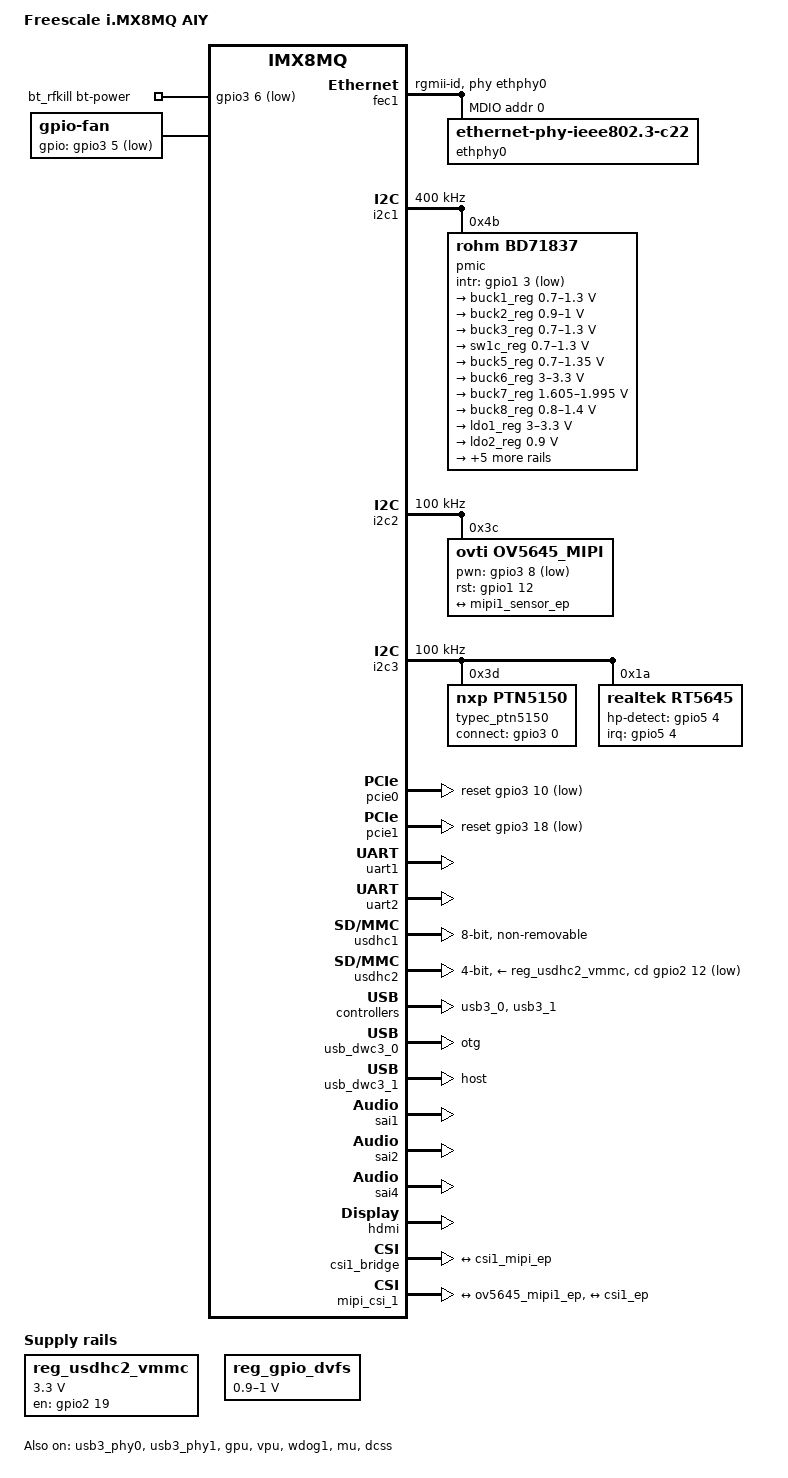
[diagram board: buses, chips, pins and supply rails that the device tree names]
/*
 * Copyright 2018 NXP
 *
 * This program is free software; you can redistribute it and/or
 * modify it under the terms of the GNU General Public License
 * as published by the Free Software Foundation; either version 2
 * of the License, or (at your option) any later version.
 *
 * This program is distributed in the hope that it will be useful,
 * but WITHOUT ANY WARRANTY; without even the implied warranty of
 * MERCHANTABILITY or FITNESS FOR A PARTICULAR PURPOSE.  See the
 * GNU General Public License for more details.
 */

/dts-v1/;

#include "fsl-imx8mq.dtsi"

/ {
	firmware {
		android {
			compatible = "android,firmware";
			fstab {
				compatible = "android,fstab";
				vendor {
					compatible = "android,vendor";
					/* default emmc node used for GSI */
					dev = "/dev/block/platform/30b40000.usdhc/by-name/vendor";
					/* emmc node which used if androidboot.storage_type=emmc */
					dev_emmc = "/dev/block/platform/30b40000.usdhc/by-name/vendor";
					type = "ext4";
					mnt_flags = "ro,barrier=1,inode_readahead_blks=8";
					fsmgr_flags = "wait,slotselect,avb";
				};
			};
			vbmeta {
				/*we need use FirstStageMountVBootV2 if we enable avb*/
				compatible = "android,vbmeta";
				/*parts means the partition witch can be mount in first stage*/
				parts = "vbmeta,boot,system,vendor";
			};
		};
	};
};

/ {
	model = "Freescale i.MX8MQ AIY";
	compatible = "fsl,imx8mq-evk", "fsl,imx8mq";

	chosen {
		bootargs = "console=ttymxc0,115200 earlycon=ec_imx6q,0x30860000,115200";
		stdout-path = &uart1;
	};

	regulators {
		compatible = "simple-bus";
		#address-cells = <1>;
		#size-cells = <0>;

		reg_usdhc2_vmmc: usdhc2_vmmc {
			compatible = "regulator-fixed";
			regulator-name = "VSD_3V3";
			regulator-min-microvolt = <3300000>;
			regulator-max-microvolt = <3300000>;
			gpio = <&gpio2 19 GPIO_ACTIVE_HIGH>;
			off-on-delay = <20000>;
			enable-active-high;
		};

		reg_gpio_dvfs: regulator-gpio {
			compatible = "regulator-gpio";
			pinctrl-names = "default";
			pinctrl-0 = <&pinctrl_dvfs>;
			regulator-min-microvolt = <900000>;
			regulator-max-microvolt = <1000000>;
			regulator-name = "gpio_dvfs";
			regulator-type = "voltage";
			gpios = <&gpio1 13 GPIO_ACTIVE_HIGH>;
			states = <900000 0x1 1000000 0x0>;
		};
	};

	bt_rfkill {
		compatible = "fsl,mxc_bt_rfkill";
		bt-power-gpios = <&gpio3 6 GPIO_ACTIVE_LOW>;
		status ="okay";
	};

	sound-hdmi {
		compatible = "fsl,imx8mq-evk-cdnhdmi",
				"fsl,imx-audio-cdnhdmi";
		model = "imx-audio-hdmi";
		audio-cpu = <&sai4>;
		protocol = <1>;
		hdmi-out;
		constraint-rate = <44100>,
				<88200>,
				<176400>,
				<32000>,
				<48000>,
				<96000>,
				<192000>;
	};
  
	sound-rt5645 {
		compatible = "google,edgetpu-audio-card";
		model = "edgetpu-audio-card";
		audio-cpu = <&sai2>;
		audio-codec = <&rt5645>;
		google,model = "edgetpu-audio-card";
        status = "okay";
	};

	trusty {
		compatible = "android,trusty-smc-v1";
		ranges;
		#address-cells = <2>;
		#size-cells = <2>;
		use-gicv3-workaround;
		trusty-irq {
			use-gicv3-workaround;
			compatible = "android,trusty-irq-v1";
			interrupt-templates = <&trusty_ipi 0>;
			interrupt-ranges = < 0 15 0>;
		};
		trusty-virtio {
			compatible = "android,trusty-virtio-v1";
		};
		trusty-log {
			compatible = "android,trusty-log-v1";
		};
	};
	trusty_ipi: interrupt-controller@0 {
		compatible = "android,CustomIPI";
		interrupt-controller;
		#interrupt-cells = <1>;
	};

	fan: gpio_fan {
		compatible = "gpio-fan";
		gpios = <&gpio3 5 GPIO_ACTIVE_LOW>;
		gpio-fan,speed-map = <0 0>, <8600 1>;
		#cooling-cells = <2>;
	};
};

&clk {
	assigned-clocks = <&clk IMX8MQ_AUDIO_PLL1>, <&clk IMX8MQ_AUDIO_PLL2>;
	assigned-clock-rates = <786432000>, <722534400>;
};

&iomuxc {
	pinctrl-names = "default";
	pinctrl-0 = <&pinctrl_hog>;

	imx8mq-evk {
		pinctrl_gpio: gpio_ctrlgrp{
			fsl,pins = <
				MX8MQ_IOMUXC_GPIO1_IO07_GPIO1_IO7		0x19
				MX8MQ_IOMUXC_GPIO1_IO08_GPIO1_IO8		0x19
				MX8MQ_IOMUXC_NAND_DATA03_GPIO3_IO9		0x19
				MX8MQ_IOMUXC_NAND_DATA07_GPIO3_IO13		0x19
				MX8MQ_IOMUXC_ECSPI2_SS0_GPIO5_IO13		0x19
			>;
		};

		pinctrl_hog: hoggrp {
			fsl,pins = <
				MX8MQ_IOMUXC_NAND_READY_B_GPIO3_IO16		0x19
				MX8MQ_IOMUXC_NAND_WE_B_GPIO3_IO17		0x19
				MX8MQ_IOMUXC_NAND_WP_B_GPIO3_IO18		0x19
			>;
		};

		pinctrl_csi1: csi1grp {
			fsl,pins = <
				MX8MQ_IOMUXC_NAND_DATA02_GPIO3_IO8      0x19 /* PWDN */
				MX8MQ_IOMUXC_GPIO1_IO12_GPIO1_IO12      0x19 /* RESETB */
				/* vsync pin mux? can't find in schematic */
			>;
		};

		pinctrl_csi2_pwn: csi2_pwn_grp {
			fsl,pins = <
				MX8MQ_IOMUXC_GPIO1_IO05_GPIO1_IO5		0x19
			>;
		};

		pinctrl_csi_rst: csi_rst_grp {
			fsl,pins = <
				MX8MQ_IOMUXC_GPIO1_IO06_GPIO1_IO6		0x19
				MX8MQ_IOMUXC_GPIO1_IO15_CCMSRCGPCMIX_CLKO2	0x59
			>;
		};

		pinctrl_fec1: fec1grp {
			fsl,pins = <
				MX8MQ_IOMUXC_ENET_MDC_ENET1_MDC		0x3
				MX8MQ_IOMUXC_ENET_MDIO_ENET1_MDIO	0x23
				MX8MQ_IOMUXC_ENET_TD3_ENET1_RGMII_TD3	0x1f
				MX8MQ_IOMUXC_ENET_TD2_ENET1_RGMII_TD2	0x1f
				MX8MQ_IOMUXC_ENET_TD1_ENET1_RGMII_TD1	0x1f
				MX8MQ_IOMUXC_ENET_TD0_ENET1_RGMII_TD0	0x1f
				MX8MQ_IOMUXC_ENET_RD3_ENET1_RGMII_RD3	0x91
				MX8MQ_IOMUXC_ENET_RD2_ENET1_RGMII_RD2	0x91
				MX8MQ_IOMUXC_ENET_RD1_ENET1_RGMII_RD1	0x91
				MX8MQ_IOMUXC_ENET_RD0_ENET1_RGMII_RD0	0x91
				MX8MQ_IOMUXC_ENET_TXC_ENET1_RGMII_TXC	0x1f
				MX8MQ_IOMUXC_ENET_RXC_ENET1_RGMII_RXC	0x91
				MX8MQ_IOMUXC_ENET_RX_CTL_ENET1_RGMII_RX_CTL	0x91
				MX8MQ_IOMUXC_ENET_TX_CTL_ENET1_RGMII_TX_CTL	0x1f
				MX8MQ_IOMUXC_GPIO1_IO09_GPIO1_IO9	0x19
			>;
		};

		pinctrl_i2c1: i2c1grp {
			fsl,pins = <
				MX8MQ_IOMUXC_I2C1_SCL_I2C1_SCL			0x4000007f
				MX8MQ_IOMUXC_I2C1_SDA_I2C1_SDA			0x4000007f
			>;
		};

		pinctrl_i2c2: i2c2grp {
			fsl,pins = <
				MX8MQ_IOMUXC_I2C2_SCL_I2C2_SCL			0x40000067
				MX8MQ_IOMUXC_I2C2_SDA_I2C2_SDA			0x40000067
			>;
		};

		pinctrl_i2c3: i2c3grp {
			fsl,pins = <
				MX8MQ_IOMUXC_I2C3_SCL_I2C3_SCL			0x40000067
				MX8MQ_IOMUXC_I2C3_SDA_I2C3_SDA			0x40000067
			>;
		};

		pinctrl_pcie0: pcie0grp {
			fsl,pins = <
				MX8MQ_IOMUXC_I2C4_SCL_PCIE1_CLKREQ_B	0x76 /* open drain, pull up */
			>;
		};

		pinctrl_pcie1: pcie1grp {
			fsl,pins = <
				MX8MQ_IOMUXC_I2C4_SDA_PCIE2_CLKREQ_B	0x76 /* open drain, pull up */
				MX8MQ_IOMUXC_ECSPI2_SCLK_GPIO5_IO10	0x16
				MX8MQ_IOMUXC_ECSPI2_MISO_GPIO5_IO12	0x16
			>;
		};

		pinctrl_dvfs: dvfsgrp {
			fsl,pins = <
				MX8MQ_IOMUXC_GPIO1_IO13_GPIO1_IO13	0x16
			>;
		};

		pinctrl_qspi: qspigrp {
			fsl,pins = <
				MX8MQ_IOMUXC_NAND_ALE_QSPI_A_SCLK	0x82
				MX8MQ_IOMUXC_NAND_CE0_B_QSPI_A_SS0_B	0x82
				MX8MQ_IOMUXC_NAND_DATA00_QSPI_A_DATA0	0x82
				MX8MQ_IOMUXC_NAND_DATA01_QSPI_A_DATA1	0x82
				MX8MQ_IOMUXC_NAND_DATA02_QSPI_A_DATA2	0x82
				MX8MQ_IOMUXC_NAND_DATA03_QSPI_A_DATA3	0x82

			>;
		};

		pinctrl_uart1: uart1grp {
			fsl,pins = <
				MX8MQ_IOMUXC_UART1_RXD_UART1_DCE_RX		0x49
				MX8MQ_IOMUXC_UART1_TXD_UART1_DCE_TX		0x49
			>;
		};

		pinctrl_uart2: uart2grp {
			fsl,pins = <
				MX8MQ_IOMUXC_UART2_TXD_UART2_DCE_TX		0x49
				MX8MQ_IOMUXC_UART2_RXD_UART2_DCE_RX		0x49
				MX8MQ_IOMUXC_UART4_RXD_UART2_DCE_CTS_B	0x49
				MX8MQ_IOMUXC_UART4_TXD_UART2_DCE_RTS_B	0x49
				MX8MQ_IOMUXC_NAND_DATA00_GPIO3_IO6		0x19
			>;
		};

		pinctrl_usdhc1: usdhc1grp {
			fsl,pins = <
				MX8MQ_IOMUXC_SD1_CLK_USDHC1_CLK			0x83
				MX8MQ_IOMUXC_SD1_CMD_USDHC1_CMD			0xc3
				MX8MQ_IOMUXC_SD1_DATA0_USDHC1_DATA0		0xc3
				MX8MQ_IOMUXC_SD1_DATA1_USDHC1_DATA1		0xc3
				MX8MQ_IOMUXC_SD1_DATA2_USDHC1_DATA2		0xc3
				MX8MQ_IOMUXC_SD1_DATA3_USDHC1_DATA3		0xc3
				MX8MQ_IOMUXC_SD1_DATA4_USDHC1_DATA4		0xc3
				MX8MQ_IOMUXC_SD1_DATA5_USDHC1_DATA5		0xc3
				MX8MQ_IOMUXC_SD1_DATA6_USDHC1_DATA6		0xc3
				MX8MQ_IOMUXC_SD1_DATA7_USDHC1_DATA7		0xc3
				MX8MQ_IOMUXC_SD1_STROBE_USDHC1_STROBE 		0x83
				MX8MQ_IOMUXC_SD1_RESET_B_USDHC1_RESET_B		0xc1
			>;
		};

		pinctrl_usdhc1_100mhz: usdhc1grp100mhz {
			fsl,pins = <
				MX8MQ_IOMUXC_SD1_CLK_USDHC1_CLK			0x8d
				MX8MQ_IOMUXC_SD1_CMD_USDHC1_CMD			0xcd
				MX8MQ_IOMUXC_SD1_DATA0_USDHC1_DATA0		0xcd
				MX8MQ_IOMUXC_SD1_DATA1_USDHC1_DATA1		0xcd
				MX8MQ_IOMUXC_SD1_DATA2_USDHC1_DATA2		0xcd
				MX8MQ_IOMUXC_SD1_DATA3_USDHC1_DATA3		0xcd
				MX8MQ_IOMUXC_SD1_DATA4_USDHC1_DATA4		0xcd
				MX8MQ_IOMUXC_SD1_DATA5_USDHC1_DATA5		0xcd
				MX8MQ_IOMUXC_SD1_DATA6_USDHC1_DATA6		0xcd
				MX8MQ_IOMUXC_SD1_DATA7_USDHC1_DATA7		0xcd
				MX8MQ_IOMUXC_SD1_STROBE_USDHC1_STROBE		0x8d
				MX8MQ_IOMUXC_SD1_RESET_B_USDHC1_RESET_B		0xc1
			>;
		};

		pinctrl_usdhc1_200mhz: usdhc1grp200mhz {
			fsl,pins = <
				MX8MQ_IOMUXC_SD1_CLK_USDHC1_CLK			0x9f
				MX8MQ_IOMUXC_SD1_CMD_USDHC1_CMD			0xdf
				MX8MQ_IOMUXC_SD1_DATA0_USDHC1_DATA0		0xdf
				MX8MQ_IOMUXC_SD1_DATA1_USDHC1_DATA1		0xdf
				MX8MQ_IOMUXC_SD1_DATA2_USDHC1_DATA2		0xdf
				MX8MQ_IOMUXC_SD1_DATA3_USDHC1_DATA3		0xdf
				MX8MQ_IOMUXC_SD1_DATA4_USDHC1_DATA4		0xdf
				MX8MQ_IOMUXC_SD1_DATA5_USDHC1_DATA5		0xdf
				MX8MQ_IOMUXC_SD1_DATA6_USDHC1_DATA6		0xdf
				MX8MQ_IOMUXC_SD1_DATA7_USDHC1_DATA7		0xdf
				MX8MQ_IOMUXC_SD1_STROBE_USDHC1_STROBE		0x9f
				MX8MQ_IOMUXC_SD1_RESET_B_USDHC1_RESET_B		0xc1
			>;
		};

		pinctrl_usdhc2_gpio: usdhc2grpgpio {
			fsl,pins = <
				MX8MQ_IOMUXC_SD2_CD_B_GPIO2_IO12	0x41
				MX8MQ_IOMUXC_SD2_RESET_B_GPIO2_IO19	0x41
			>;
		};

		pinctrl_usdhc2: usdhc2grp {
			fsl,pins = <
				MX8MQ_IOMUXC_SD2_CLK_USDHC2_CLK			0x83
				MX8MQ_IOMUXC_SD2_CMD_USDHC2_CMD			0xc3
				MX8MQ_IOMUXC_SD2_DATA0_USDHC2_DATA0		0xc3
				MX8MQ_IOMUXC_SD2_DATA1_USDHC2_DATA1		0xc3
				MX8MQ_IOMUXC_SD2_DATA2_USDHC2_DATA2		0xc3
				MX8MQ_IOMUXC_SD2_DATA3_USDHC2_DATA3		0xc3
				MX8MQ_IOMUXC_GPIO1_IO04_USDHC2_VSELECT		0xc1
			>;
		};

		pinctrl_usdhc2_100mhz: usdhc2grp100mhz {
			fsl,pins = <
				MX8MQ_IOMUXC_SD2_CLK_USDHC2_CLK			0x8d
				MX8MQ_IOMUXC_SD2_CMD_USDHC2_CMD			0xcd
				MX8MQ_IOMUXC_SD2_DATA0_USDHC2_DATA0		0xcd
				MX8MQ_IOMUXC_SD2_DATA1_USDHC2_DATA1		0xcd
				MX8MQ_IOMUXC_SD2_DATA2_USDHC2_DATA2		0xcd
				MX8MQ_IOMUXC_SD2_DATA3_USDHC2_DATA3		0xcd
				MX8MQ_IOMUXC_GPIO1_IO04_USDHC2_VSELECT		0xc1
			>;
		};

		pinctrl_usdhc2_200mhz: usdhc2grp200mhz {
			fsl,pins = <
				MX8MQ_IOMUXC_SD2_CLK_USDHC2_CLK			0x9f
				MX8MQ_IOMUXC_SD2_CMD_USDHC2_CMD			0xdf
				MX8MQ_IOMUXC_SD2_DATA0_USDHC2_DATA0		0xdf
				MX8MQ_IOMUXC_SD2_DATA1_USDHC2_DATA1		0xdf
				MX8MQ_IOMUXC_SD2_DATA2_USDHC2_DATA2		0xdf
				MX8MQ_IOMUXC_SD2_DATA3_USDHC2_DATA3		0xdf
				MX8MQ_IOMUXC_GPIO1_IO04_USDHC2_VSELECT		0xc1
			>;
		};

		pinctrl_sai1: sai1grp {
			fsl,pins = <
					MX8MQ_IOMUXC_SAI1_TXFS_SAI1_TX_SYNC     0xd6
					MX8MQ_IOMUXC_SAI1_TXC_SAI1_TX_BCLK      0xd6
					MX8MQ_IOMUXC_SAI1_MCLK_SAI1_MCLK        0xd6
					MX8MQ_IOMUXC_SAI1_TXD0_SAI1_TX_DATA0    0xd6
					MX8MQ_IOMUXC_SAI1_RXD0_SAI1_RX_DATA0    0xd6
				>;
		};

		pinctrl_sai2: sai2grp {
			fsl,pins = <
				MX8MQ_IOMUXC_SAI2_TXFS_SAI2_TX_SYNC	0xd6
				MX8MQ_IOMUXC_SAI2_TXC_SAI2_TX_BCLK	0xd6
				MX8MQ_IOMUXC_SAI2_MCLK_SAI2_MCLK	0xd6
				MX8MQ_IOMUXC_SAI2_TXD0_SAI2_TX_DATA0	0xd6
				MX8MQ_IOMUXC_SAI2_RXD0_SAI2_RX_DATA0  0xd6
				MX8MQ_IOMUXC_SPDIF_RX_GPIO5_IO4	0xd6
			>;
		};

		pinctrl_wdog: wdoggrp {
			fsl,pins = <
				MX8MQ_IOMUXC_GPIO1_IO02_WDOG1_WDOG_B 0xc6
			>;
		};

		pinctrl_i2c1_dsi_ts_int: dsi_ts_int {
			fsl,pins = <
				MX8MQ_IOMUXC_ECSPI1_MOSI_GPIO5_IO7              0x19
			>;
		};
		pinctrl_pmic: pmicirq {
			fsl,pins = <
				MX8MQ_IOMUXC_GPIO1_IO03_GPIO1_IO3	0x41 /*0x17059*/
			>;
		};
		pinctrl_typec: typecgrp {
			fsl,pins = <
				MX8MQ_IOMUXC_NAND_ALE_GPIO3_IO0		0x17059
			>;
		};
	};
};

&fec1 {
	pinctrl-names = "default";
	pinctrl-0 = <&pinctrl_fec1>;
	phy-mode = "rgmii-id";
	phy-handle = <&ethphy0>;
	fsl,magic-packet;
	status = "okay";

	mdio {
		#address-cells = <1>;
		#size-cells = <0>;

		ethphy0: ethernet-phy@0 {
			compatible = "ethernet-phy-ieee802.3-c22";
			reg = <0>;
			at803x,led-act-blind-workaround;
			at803x,eee-disabled;
		};
	};
};

&i2c1 {
	clock-frequency = <400000>;
	pinctrl-names = "default";
	pinctrl-0 = <&pinctrl_i2c1>;
	status = "okay";

	pmic: bd71837@4b {
		reg = <0x4b>;
		compatible = "rohm,bd71837";
		/* PMIC BD71837 PMIC_nINT GPIO1_IO12 */
		pinctrl-0 = <&pinctrl_pmic>;
		gpio_intr = <&gpio1 3 GPIO_ACTIVE_LOW>;

		bd71837,pmic-buck1-uses-i2c-dvs;
		bd71837,pmic-buck1-dvs-voltage = <900000>, <900000>, <800000>; /* VDD_SOC: Run-Idle-Suspend */
		bd71837,pmic-buck2-uses-i2c-dvs;
		bd71837,pmic-buck2-dvs-voltage = <1000000>, <900000>, <0>; /* VDD_ARM: Run-Idle */
		bd71837,pmic-buck3-uses-i2c-dvs;
		bd71837,pmic-buck3-dvs-voltage = <900000>, <0>, <0>; /* VDD_GPU: Run */
		bd71837,pmic-buck4-uses-i2c-dvs;
		bd71837,pmic-buck4-dvs-voltage = <1000000>, <0>, <0>; /* VDD_VPU: Run */

		gpo {
			rohm,drv = <0x0C>;	/* 0b0000_1100 all gpos with cmos output mode */
		};

		regulators {
			#address-cells = <1>;
			#size-cells = <0>;

			buck1_reg: regulator@0 {
				reg = <0>;
				regulator-compatible = "buck1";
				regulator-min-microvolt = <700000>;
				regulator-max-microvolt = <1300000>;
				regulator-boot-on;
				regulator-always-on;
				regulator-ramp-delay = <1250>;
			};

			buck2_reg: regulator@1 {
				reg = <1>;
				regulator-compatible = "buck2";
				regulator-min-microvolt = <900000>;
				regulator-max-microvolt = <1000000>;
				regulator-boot-on;
				regulator-always-on;
			};

			buck3_reg: regulator@2 {
				reg = <2>;
				regulator-compatible = "buck3";
				regulator-min-microvolt = <700000>;
				regulator-max-microvolt = <1300000>;
				regulator-boot-on;
			};

			sw1c_reg: regulator@3 {
				reg = <3>;
				regulator-compatible = "buck4";
				regulator-min-microvolt = <700000>;
				regulator-max-microvolt = <1300000>;
				regulator-boot-on;
			};

			buck5_reg: regulator@4 {
				reg = <4>;
				regulator-compatible = "buck5";
				regulator-min-microvolt = <700000>;
				regulator-max-microvolt = <1350000>;
				regulator-boot-on;
				regulator-always-on;
			};

			buck6_reg: regulator@5 {
				reg = <5>;
				regulator-compatible = "buck6";
				regulator-min-microvolt = <3000000>;
				regulator-max-microvolt = <3300000>;
				regulator-boot-on;
				regulator-always-on;
			};

			buck7_reg: regulator@6 {
				reg = <6>;
				regulator-compatible = "buck7";
				regulator-min-microvolt = <1605000>;
				regulator-max-microvolt = <1995000>;
				regulator-boot-on;
				regulator-always-on;
			};

			buck8_reg: regulator@7 {
				reg = <7>;
				regulator-compatible = "buck8";
				regulator-min-microvolt = <800000>;
				regulator-max-microvolt = <1400000>;
				regulator-boot-on;
				regulator-always-on;
			};

			ldo1_reg: regulator@8 {
				reg = <8>;
				regulator-compatible = "ldo1";
				regulator-min-microvolt = <3000000>;
				regulator-max-microvolt = <3300000>;
				regulator-boot-on;
				regulator-always-on;
			};

			ldo2_reg: regulator@9 {
				reg = <9>;
				regulator-compatible = "ldo2";
				regulator-min-microvolt = <900000>;
				regulator-max-microvolt = <900000>;
				regulator-boot-on;
				regulator-always-on;
			};

			ldo3_reg: regulator@10 {
				reg = <10>;
				regulator-compatible = "ldo3";
				regulator-min-microvolt = <1800000>;
				regulator-max-microvolt = <3300000>;
				regulator-boot-on;
				regulator-always-on;
			};

			ldo4_reg: regulator@11 {
				reg = <11>;
				regulator-compatible = "ldo4";
				regulator-min-microvolt = <900000>;
				regulator-max-microvolt = <1800000>;
				regulator-boot-on;
				regulator-always-on;
			};

			ldo5_reg: regulator@12 {
				reg = <12>;
				regulator-compatible = "ldo5";
				regulator-min-microvolt = <1800000>;
				regulator-max-microvolt = <3300000>;
				regulator-boot-on;
				regulator-always-on;
			};

			ldo6_reg: regulator@13 {
				reg = <13>;
				regulator-compatible = "ldo6";
				regulator-min-microvolt = <900000>;
				regulator-max-microvolt = <1800000>;
				regulator-boot-on;
			};

			ldo7_reg: regulator@14 {
				reg = <14>;
				regulator-compatible = "ldo7";
				regulator-min-microvolt = <1800000>;
				regulator-max-microvolt = <3300000>;
				regulator-boot-on;
				regulator-always-on;
			};
		};
	};
};

&i2c2 {
	clock-frequency = <100000>;
	pinctrl-names = "default";
	pinctrl-0 = <&pinctrl_i2c2>;
	status = "okay";

	ov5645_mipi: ov5645_mipi@3c {
		compatible = "ovti,ov5645_mipi";
		reg = <0x3c>;
		status = "okay";
		pinctrl-names = "default";
		pinctrl-0 = <&pinctrl_csi1>;
		clocks = <&clk IMX8MQ_CLK_DUMMY>;
		clock-names = "csi_mclk";
		csi_id = <0>;
		pwn-gpios = <&gpio3 8 1>;
		rst-gpios = <&gpio1 12 0>;
		mclk = <20000000>;
		mclk_source = <0>;
		ae_target = <52>;
		port {
			ov5645_mipi1_ep: endpoint {
				remote-endpoint = <&mipi1_sensor_ep>;
			};
		};
	};
};


&i2c3 {
	clock-frequency = <100000>;
	pinctrl-names = "default";
	pinctrl-0 = <&pinctrl_i2c3>;
	status = "okay";

	typec_ptn5150: typec@3d {
		compatible = "nxp,ptn5150";
		pinctrl-names = "default";
		pinctrl-0 = <&pinctrl_typec>;
		reg = <0x3d>;
		connect-gpios = <&gpio3 0 GPIO_ACTIVE_HIGH>;
	};

	rt5645: rt5645@1a {
		compatible = "realtek,rt5645";
		reg = <0x1a>;
		clocks = <&clk IMX8MQ_CLK_SAI2_ROOT>;
		clock-names = "mclk1";
		status = "okay";
		realtek,dmic1-data-pin = <2>; // GPIO5
		realtek,jd-mode = <0>;
		realtek,jd-invert;
		realtek,jd-low-volt-enable;
		interrupt-parent = <&gpio5>;
		interrupts = <4 IRQ_TYPE_EDGE_BOTH>;
		hp-detect-gpios = <&gpio5 4 GPIO_ACTIVE_HIGH>;
	};
};

&pcie0{
	pinctrl-names = "default";
	pinctrl-0 = <&pinctrl_pcie0>;
	clkreq-gpio = <&gpio5 20 GPIO_ACTIVE_LOW>;
	disable-gpio = <&gpio3 11 GPIO_ACTIVE_LOW>;
	reset-gpio = <&gpio3 10 GPIO_ACTIVE_LOW>;
	status = "okay";
};

&pcie1{
	pinctrl-names = "default";
	pinctrl-0 = <&pinctrl_pcie1>;
	reset-gpio = <&gpio3 18 GPIO_ACTIVE_LOW>;
	ext_osc = <1>;
	status = "okay";
};

&uart1 { /* console */
	pinctrl-names = "default";
	pinctrl-0 = <&pinctrl_uart1>;
	assigned-clocks = <&clk IMX8MQ_CLK_UART1>;
	assigned-clock-parents = <&clk IMX8MQ_CLK_25M>;
	status = "okay";
};

&uart2 { /* BT */
	pinctrl-names = "default";
	pinctrl-0 = <&pinctrl_uart2>;
	assigned-clocks = <&clk IMX8MQ_CLK_UART2>;
	assigned-clock-parents = <&clk IMX8MQ_SYS1_PLL_80M>;
	fsl,uart-has-rtscts;
	status = "okay";
};

&usdhc1 {
	pinctrl-names = "default", "state_100mhz", "state_200mhz";
	pinctrl-0 = <&pinctrl_usdhc1>;
	pinctrl-1 = <&pinctrl_usdhc1_100mhz>;
	pinctrl-2 = <&pinctrl_usdhc1_200mhz>;
	bus-width = <8>;
	non-removable;
	status = "okay";
};

&usdhc2 {
	pinctrl-names = "default", "state_100mhz", "state_200mhz";
	pinctrl-0 = <&pinctrl_usdhc2>, <&pinctrl_usdhc2_gpio>;
	pinctrl-1 = <&pinctrl_usdhc2_100mhz>, <&pinctrl_usdhc2_gpio>;
	pinctrl-2 = <&pinctrl_usdhc2_200mhz>, <&pinctrl_usdhc2_gpio>;
	bus-width = <4>;
	cd-gpios = <&gpio2 12 GPIO_ACTIVE_LOW>;
	vmmc-supply = <&reg_usdhc2_vmmc>;
	status = "okay";
};

&usb3_phy0 {
	status = "okay";
};

&usb3_0 {
	status = "okay";
};

&usb_dwc3_0 {
	status = "okay";
	extcon = <&typec_ptn5150>;
	dr_mode = "otg";
};

&usb3_phy1 {
	status = "okay";
};

&usb3_1 {
	status = "okay";
};

&usb_dwc3_1 {
	status = "okay";
	dr_mode = "host";
};

&sai1 {
	pinctrl-names = "default";
	pinctrl-0 = <&pinctrl_sai1>;
	status = "okay";
};

&sai2 {
	pinctrl-names = "default";
	pinctrl-0 = <&pinctrl_sai2>;
	assigned-clocks = <&clk IMX8MQ_CLK_SAI2>;
	assigned-clock-parents = <&clk IMX8MQ_AUDIO_PLL1_OUT>;
	assigned-clock-rates = <24576000>;
	status = "okay";
	clocks = <&clk IMX8MQ_CLK_SAI2_IPG>, <&clk IMX8MQ_CLK_DUMMY>,
		<&clk IMX8MQ_CLK_SAI2_ROOT>, <&clk IMX8MQ_CLK_DUMMY>,
		<&clk IMX8MQ_CLK_DUMMY>, <&clk IMX8MQ_AUDIO_PLL1_OUT>,
		<&clk IMX8MQ_AUDIO_PLL2_OUT>;
	clock-names = "bus", "mclk0", "mclk1", "mclk2", "mclk3", "pll8k", "pll11k";
};

&sai4 {
	assigned-clocks = <&clk IMX8MQ_CLK_SAI4>;
	assigned-clock-parents = <&clk IMX8MQ_AUDIO_PLL1_OUT>;
	assigned-clock-rates = <24576000>;
	clocks = <&clk IMX8MQ_CLK_SAI4_IPG>, <&clk IMX8MQ_CLK_DUMMY>,
		<&clk IMX8MQ_CLK_SAI4_ROOT>, <&clk IMX8MQ_CLK_DUMMY>,
		<&clk IMX8MQ_CLK_DUMMY>, <&clk IMX8MQ_AUDIO_PLL1_OUT>,
		<&clk IMX8MQ_AUDIO_PLL2_OUT>;
	clock-names = "bus", "mclk0", "mclk1", "mclk2", "mclk3", "pll8k", "pll11k";
	status = "okay";
};

&gpu_pd {
	power-supply = <&buck3_reg>;
};

&vpu_pd {
	power-supply = <&sw1c_reg>;
};

&gpu {
	gpu-noc-priority = <0x80000600>;
	status = "okay";
};

&vpu {
	status = "okay";
};

&wdog1 {
	pinctrl-names = "default";
	pinctrl-0 = <&pinctrl_wdog>;
	fsl,ext-reset-output;
	status = "okay";
};

&mu {
	status = "okay";
};

&rpmsg{
	/*
	 * 64K for one rpmsg instance:
	 * --0x98000000~0x9800ffff: pingpong
	 */
	vdev-nums = <1>;
	reg = <0x0 0x60000000 0x0 0x10000>;
	status = "disabled";
};

&A53_0 {
	operating-points = <
		/* kHz    uV */
		1500000 1000000
		1300000 1000000
		1000000 900000
		800000  900000
	>;
	dc-supply = <&buck2_reg>;
};

/* Data for energy-aware-scheduling */
/{
	cpus {
		energy-costs {
			CPU_COST_A53: core-cost-a53 {
				busy-cost-data = <
					546  1017
					682  1272
					887  2041
					1024 2356
				>;
				idle-cost-data = <
					94
					94
					0
				>;
			};
			CLUSTER_COST_A53: cluster-cost-a53 {
				busy-cost-data = <
					546  1017
					682  1272
					887  2041
					1024 3095
				>;
				idle-cost-data = <
					1037
					1037
					1037
				>;
			};
		};
	};
};

&A53_0 {
	sched-energy-costs = <&CPU_COST_A53 &CLUSTER_COST_A53>;
};
&A53_1 {
	sched-energy-costs = <&CPU_COST_A53 &CLUSTER_COST_A53>;
};
&A53_2 {
	sched-energy-costs = <&CPU_COST_A53 &CLUSTER_COST_A53>;
};
&A53_3 {
	sched-energy-costs = <&CPU_COST_A53 &CLUSTER_COST_A53>;
};

&dcss {
	status = "okay";

	disp-dev = "hdmi_disp";
};

&hdmi {
	status = "okay";
};

&csi1_bridge {
	fsl,mipi-mode;
	fsl,two-8bit-sensor-mode;
	status = "okay";

	port {
		csi1_ep: endpoint {
			remote-endpoint = <&csi1_mipi_ep>;
		};
	};
};

&mipi_csi_1 {
	#address-cells = <1>;
	#size-cells = <0>;
	status = "okay";
	port {
		mipi1_sensor_ep: endpoint1 {
			remote-endpoint = <&ov5645_mipi1_ep>;
			data-lanes = <1 2>;
		};

		csi1_mipi_ep: endpoint2 {
			remote-endpoint = <&csi1_ep>;
		};
	};
};

&crypto {
       status = "disabled";
};

&tmu{
	throttle-cfgs {
		throttle_devfreq: devfreq {
			throttle,max_state = <2>;
			#cooling-cells = <2>;
		};
	};
};

&thermal_zones {
	/* cpu thermal */
	cpu-thermal {
		polling-delay-passive = <250>;
		polling-delay = <2000>;
		thermal-sensors = <&tmu>;
		trips {
			fan_toggle0: trip0 {
				temperature = <65000>;
				hysteresis = <10000>;
				type = "active";
			};
			cpu_alert2: trip2 {
				temperature = <75000>;
				hysteresis = <2000>;
				type = "passive";
			};
			cpu_alert3: trip3 {
				temperature = <80000>;
				hysteresis = <2000>;
				type = "passive";
			};
			cpu_alert4: trip4 {
				temperature = <85000>;
				hysteresis = <2000>;
				type = "passive";
			};
			cpu_crit0: trip1 {
				temperature = <90000>;
				hysteresis = <2000>;
				type = "critical";
			};
		};

		cooling-maps {
			map0 {
				trip = <&fan_toggle0>;
				cooling-device = <&fan THERMAL_NO_LIMIT THERMAL_NO_LIMIT>;
			};
			map1 {
				trip = <&cpu_alert2>;
				cooling-device =
				<&throttle_devfreq 0 1>, /* 1/2 GPU Clock */
				<&A53_0 0 1>; /* Exclude highest OPP */
			};
			map2 {
				trip = <&cpu_alert3>;
				cooling-device =
				<&A53_0 0 2>; /* Exclude two highest OPPs */
			};
			map3 {
				trip = <&cpu_alert4>;
				cooling-device =
				<&throttle_devfreq 0 2>; /* Min GPU Clock, disable CPU2/3 */
			};
		};
	};
};
